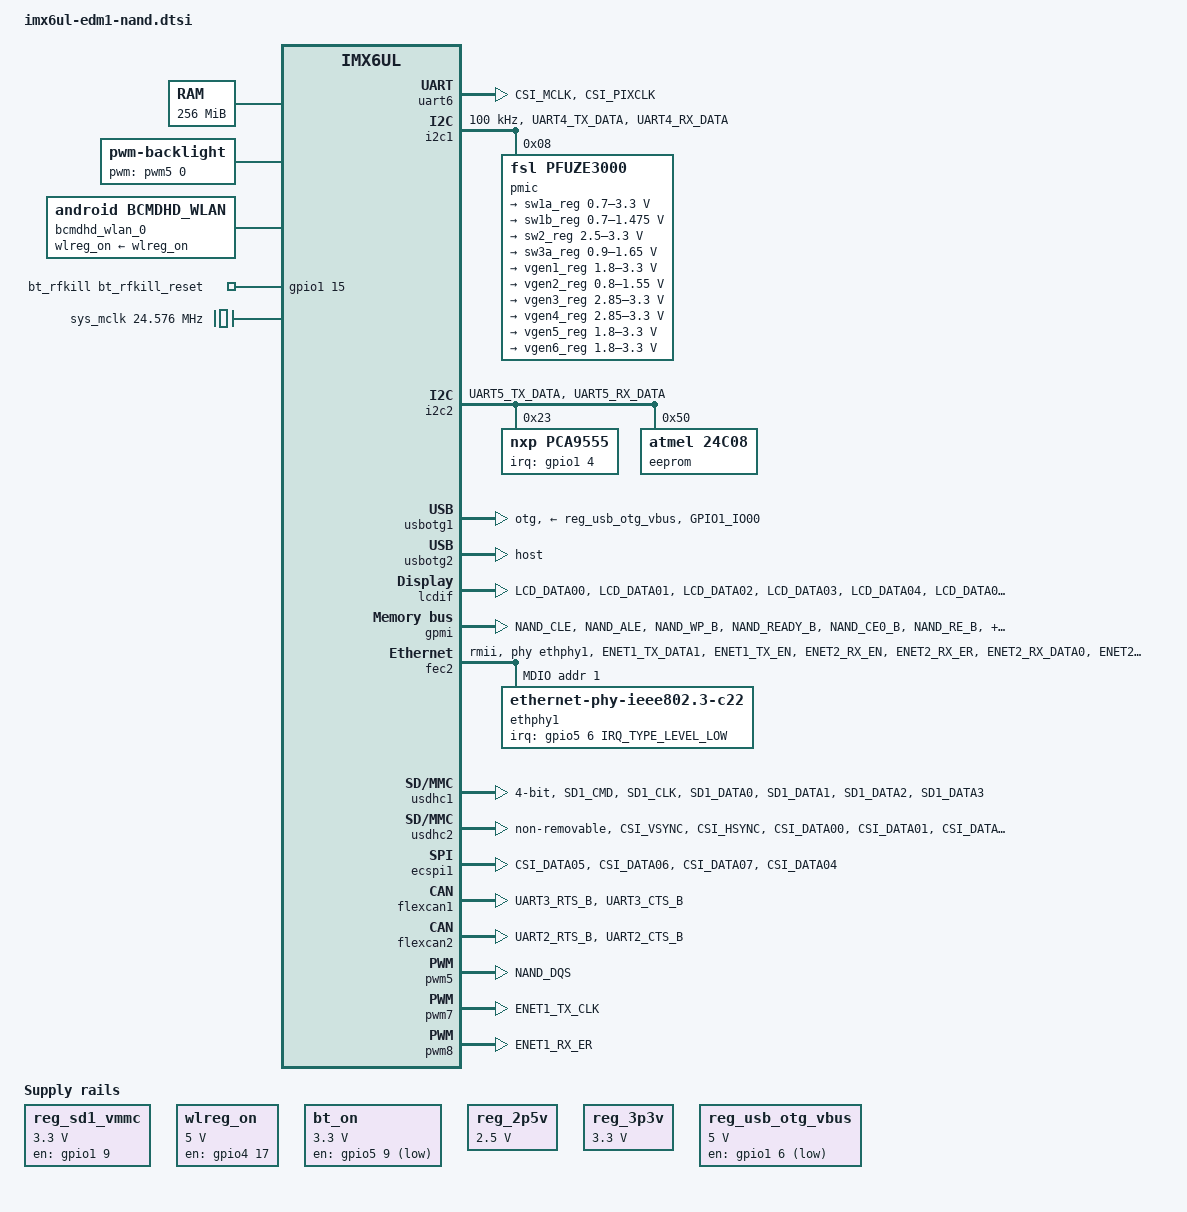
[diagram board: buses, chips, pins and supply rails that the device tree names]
/*
 * Copyright 2017 Technexion Ltd.
 *
 * Author: Tony Lin <tony.lin@technexion.com>
 *	   Tapani Utriainen <tapani@technexion.com>
 *
 * This program is free software; you can redistribute it and/or modify
 * it under the terms of the GNU General Public License version 2 as
 * published by the Free Software Foundation.
 *
 */

#include <dt-bindings/gpio/gpio.h>

/* external GPIO */
#define EDM1_EXT_GPIO_P263 gpio5 7
#define EDM1_EXT_GPIO_P255 pca9555 8
#define EDM1_EXT_GPIO_P256 pca9555 9
#define EDM1_EXT_GPIO_P257 pca9555 10
#define EDM1_EXT_GPIO_P258 pca9555 11
#define EDM1_EXT_GPIO_P259 pca9555 12
#define EDM1_EXT_GPIO_P260 pca9555 13
#define EDM1_EXT_GPIO_P261 pca9555 14
#define EDM1_EXT_GPIO_P262 pca9555 15

/* audio codec */
#define EDM1_AUD_I2S_CHANNEL sai1
#define EDM1_AUD_MUX_INT 1
#define EDM1_AUD_MUX_EXT 3
#define EDM1_AUD_CLK_SRC clks 201

#define can1 flexcan1
#define can2 flexcan2

#define EDM1_FAIRY_I2C1 i2c3
#define EDM1_FAIRY_I2C2 i2c1
#define EDM1_FAIRY_I2C3 i2c2

/ {
	memory {
		reg = <0x80000000 0x10000000>;
	};

	chosen {
        stdout-path = &uart6;
	};

    reserved-memory {
        #address-cells = <1>;
        #size-cells = <1>;
        ranges;

        linux,cma {
            compatible = "shared-dma-pool";
            reusable;
            size = <0x14000000>;
            linux,cma-default;
        };
    };

    pxp_v4l2 {
        compatible = "fsl,imx6ul-pxp-v4l2", "fsl,imx6sx-pxp-v4l2", "fsl,imx6sl-pxp-v4l2";
        status = "okay";
    };

	backlight {
		compatible = "pwm-backlight";
		pwms = <&pwm5 0 5000000>;
		brightness-levels = <0 4 8 16 32 64 128 255>;
		default-brightness-level = <6>;
		status = "okay";
	};

	regulators {
		compatible = "simple-bus";
		#address-cells = <1>;
		#size-cells = <0>;

		reg_sd1_vmmc: regulator@1 {
			compatible = "regulator-fixed";
			regulator-name = "VSD_3V3";
			regulator-min-microvolt = <3300000>;
			regulator-max-microvolt = <3300000>;
			gpio = <&gpio1 9 GPIO_ACTIVE_HIGH>;
			enable-active-high;
			regulator-always-on;
		};

		wlreg_on: fixedregulator@100 {
			compatible = "regulator-fixed";
			regulator-min-microvolt = <5000000>;
			regulator-max-microvolt = <5000000>;
			regulator-name = "wlreg_on";
			gpio = <&gpio4 17 0>;
			startup-delay-us = <100>;
			enable-active-high;
		};

		bt_on: bt_on {
			compatible = "regulator-fixed";
			regulator-min-microvolt = <3300000>;
			regulator-max-microvolt = <3300000>;
			regulator-name = "bt_on";
			gpio = <&gpio5 9 GPIO_ACTIVE_HIGH>;
			regulator-boot-on;
		};

		reg_2p5v: 2p5v {
			compatible = "regulator-fixed";
			regulator-name = "2P5V";
			regulator-min-microvolt = <2500000>;
			regulator-max-microvolt = <2500000>;
			regulator-always-on;
		};

		reg_3p3v: 3p3v {
			compatible = "regulator-fixed";
			regulator-name = "3P3V";
			regulator-min-microvolt = <3300000>;
			regulator-max-microvolt = <3300000>;
			regulator-always-on;
		};

		reg_usb_otg_vbus: usb_otg_vbus {
			compatible = "regulator-fixed";
			pinctrl-names = "default";
			pinctrl-0 = <&pinctrl_usb_otg1>;
			regulator-name = "usb_otg_vbus";
			regulator-min-microvolt = <5000000>;
			regulator-max-microvolt = <5000000>;
			gpio = <&gpio1 6 0>;
		};
	};

	bcmdhd_wlan_0: bcmdhd_wlan@0 {
		compatible = "android,bcmdhd_wlan";
		pinctrl-0 = <&pinctrl_wifi_ctrl>;
		pinctrl-names = "default";
		wlreg_on-supply = <&wlreg_on>;
		status="okay";
	};

	bt_rfkill {
		compatible = "net,rfkill-bcm43xx";
		pinctrl-names = "default";
		pinctrl-0 = <&pinctrl_bt_ctrl>;
		name = "bt_rfkill";
		type = <2>;     /* bluetooth */
		bt_rfkill_reset-gpios = <&gpio1 15 0>;
	};

	clocks {
		sys_mclk: clock {
                        compatible = "fixed-clock";
			#clock-cells = <0>;
                        clock-frequency = <24576000>;
                };
        };

    gpio-edm {
        compatible = "gpio-edm";

        gpio_expio0 {
            label = "GPIO_EXPIO0";
            gpios = <&gpio5 7 0>;
            dir   = "in";
        };

        gpio_expio1 {
            label = "GPIO_EXPIO1";    /*WIFI_PW_ON*/
            gpios = <&pca9555 1 1>;
            dir   = "out";
        };

        gpio_expio4 {
            label = "GPIO_EXPIO4";    /*BT_nRST*/
            gpios = <&pca9555 4 1>;
            dir   = "out";
        };

        gpio_expio5 {
            label = "GPIO_EXPIO5";    /*LVDS0_BLT_EN*/
            gpios = <&pca9555 5 1>;
            dir   = "out";
        };

        gpio_expio6 {
            label = "GPIO_EXPIO6";    /*LVDS0_VDD_EN*/
            gpios = <&pca9555 6 1>;
            dir   = "out";
        };

        gpio_expio7 {
            label = "GPIO_EXPIO7";    /*LCD_BLT_EN*/
            gpios = <&pca9555 7 1>;
            dir   = "out";
        };

        gpio_expio14 {
            label = "GPIO_EXPIO14";   /*GPIO_P261*/
            gpios = <&EDM1_EXT_GPIO_P261 0>;
            dir   = "in";
        };

        gpio_expio16 {
            label = "GPIO_EXPIO16";
            gpios = <&gpio5 8 1>;
            dir   = "out";
        };
    };
};

&cpu0 {
	/*
	 * on i.MX6UL, no seperated VDD_ARM_IN and VDD_SOC_IN,
	 * to align with other platform and use the same cpufreq
	 * driver, still use the seperated OPP define for arm
	 * and soc.
	 */
	operating-points = <
		/* kHz	uV */
		528000	1175000
		396000	1175000
		198000	1175000
	>;
	fsl,soc-operating-points = <
		/* KHz	uV */
		528000	1175000
		396000	1175000
		198000	1175000
	>;
	arm-supply = <&sw1b_reg>;
	soc-supply = <&sw1b_reg>;
	fsl,arm-soc-shared = <1>;
};

&clks {
	assigned-clocks = <&clks IMX6UL_CLK_PLL4_AUDIO_DIV>;
	assigned-clock-rates = <786432000>;
};

&csi {
	status = "disabled";
};

&gpc {
	fsl,cpu_pupscr_sw2iso = <0x1>;
	fsl,cpu_pupscr_sw = <0x0>;
	fsl,cpu_pdnscr_iso2sw = <0x1>;
	fsl,cpu_pdnscr_iso = <0x1>;
	fsl,wdog-reset = <1>; /* watchdog select of reset source */
	fsl,ldo-bypass = <0>; /* DCDC, ldo-enable */
};

/* Debug Console */
&uart6 {
    pinctrl-names = "default";
    pinctrl-0 = <&pinctrl_uart6>;
    status = "okay";
};

&i2c1 {
	clock-frequency = <100000>;
	pinctrl-names = "default";
	pinctrl-0 = <&pinctrl_i2c1>;
	status = "okay";

	pmic: pfuze3000@08 {
		compatible = "fsl,pfuze3000";
		reg = <0x08>;

		regulators {
			sw1a_reg: sw1a {
				regulator-min-microvolt = <700000>;
				regulator-max-microvolt = <3300000>;
				regulator-boot-on;
				regulator-always-on;
				regulator-ramp-delay = <6250>;
			};

			/* VDD_ARM_SOC_IN*/
			sw1b_reg: sw1b {
				regulator-min-microvolt = <700000>;
				regulator-max-microvolt = <1475000>;
				regulator-boot-on;
				regulator-always-on;
				regulator-ramp-delay = <6250>;
			};

			sw2_reg: sw2 {
				regulator-min-microvolt = <2500000>;
				regulator-max-microvolt = <3300000>;
				regulator-boot-on;
				regulator-always-on;
			};

			/* DRAM */
			sw3a_reg: sw3 {
				regulator-min-microvolt = <900000>;
				regulator-max-microvolt = <1650000>;
				regulator-boot-on;
				regulator-always-on;
			};

			/* DRAM */
			vref_reg: vrefddr {
				regulator-boot-on;
				regulator-always-on;
			};

			vgen1_reg: vldo1 {
				regulator-min-microvolt = <1800000>;
				regulator-max-microvolt = <3300000>;
				regulator-always-on;
			};

			vgen2_reg: vldo2 {
				regulator-min-microvolt = <800000>;
				regulator-max-microvolt = <1550000>;
				regulator-always-on;
			};

			vgen3_reg: vccsd {
				regulator-min-microvolt = <2850000>;
				regulator-max-microvolt = <3300000>;
				regulator-always-on;
			};

			vgen4_reg: v33 {
				regulator-min-microvolt = <2850000>;
				regulator-max-microvolt = <3300000>;
				regulator-always-on;
			};

			vgen5_reg: vldo3 {
				regulator-min-microvolt = <1800000>;
				regulator-max-microvolt = <3300000>;
				regulator-always-on;
			};

			vgen6_reg: vldo4 {
				regulator-min-microvolt = <1800000>;
				regulator-max-microvolt = <3300000>;
				regulator-always-on;
			};
		};
	};
};

&i2c2 {
	clock_frequency = <100000>;
	pinctrl-names = "default";
	pinctrl-0 = <&pinctrl_i2c2>;
	status = "okay";

    pca9555: pca9555@23 {
        compatible = "nxp,pca9555";
        pinctrl-names = "default";
        pinctrl-0 = <&pinctrl_pca9555_interrupt>;
        interrupt-parent = <&gpio1>;
        interrupts = <4 IRQ_TYPE_EDGE_FALLING>;
        gpio-controller;
        #gpio-cells = <2>;
        interrupt-controller;
        #interrupt-cells = <2>;
        reg = <0x23>;
	};

    eeprom@50 {
        compatible = "atmel,24c08";
        reg = <0x50>;
        pagesize = <16>;
    };
};

&i2c3 {
    status = "disabled";
};

&iomuxc {
	pinctrl-names = "default";
    pinctrl-0 = <&pinctrl_hog_1>;
    edm1-imx6ul {
        pinctrl_hog_1: hoggrp-1 {
            fsl,pins = <
                MX6UL_PAD_GPIO1_IO03__GPIO1_IO03 	0x17059		/* SD1 CD */
            >;
        };

        pinctrl_uart6: uart6grp {
            fsl,pins = <
                MX6UL_PAD_CSI_MCLK__UART6_DCE_TX 0x1b0b1
                MX6UL_PAD_CSI_PIXCLK__UART6_DCE_RX 0x1b0b1
            >;
        };

		pinctrl_usdhc1: usdhc1grp {
			fsl,pins = <
				MX6UL_PAD_SD1_CMD__USDHC1_CMD     0x17059
				MX6UL_PAD_SD1_CLK__USDHC1_CLK     0x10071
				MX6UL_PAD_SD1_DATA0__USDHC1_DATA0 0x17059
				MX6UL_PAD_SD1_DATA1__USDHC1_DATA1 0x17059
				MX6UL_PAD_SD1_DATA2__USDHC1_DATA2 0x17059
				MX6UL_PAD_SD1_DATA3__USDHC1_DATA3 0x17059
			>;
		};

		pinctrl_usdhc1b: usdhc1grpB {
			fsl,pins = <
				MX6UL_PAD_NAND_READY_B__USDHC1_DATA4 0x17059
				MX6UL_PAD_NAND_CE0_B__USDHC1_DATA5   0x17059
				MX6UL_PAD_NAND_CE1_B__USDHC1_DATA6   0x17059
				MX6UL_PAD_NAND_CLE__USDHC1_DATA7     0x17059
			>;
		};

		pinctrl_i2c1: i2c1grp {
			fsl,pins = <
                MX6UL_PAD_UART4_TX_DATA__I2C1_SCL	0x4001b8b0
                MX6UL_PAD_UART4_RX_DATA__I2C1_SDA	0x4001b8b0
			>;
		};

		pinctrl_i2c2: i2c2grp {
			fsl,pins = <
                MX6UL_PAD_UART5_TX_DATA__I2C2_SCL 0x4001b8b0
                MX6UL_PAD_UART5_RX_DATA__I2C2_SDA 0x4001b8b0
			>;
		};

		pinctrl_wifi_ctrl: wifi_ctrlgrp {
			fsl,pins = <
                MX6UL_PAD_JTAG_TCK__GPIO1_IO14 0x17059 /* wifi-host-wake */
			>;
		};

		pinctrl_bt_ctrl: bt_ctrlgrp {
			fsl,pins = <
				MX6UL_PAD_JTAG_TRST_B__GPIO1_IO15   0x79   /* bluetooth-reg-on */
				MX6UL_PAD_JTAG_TDO__GPIO1_IO12      0x79   /* bluetooth-wake */				
			>;
		};

		pinctrl_lcdif_dat: lcdifdatgrp {
			fsl,pins = <
				MX6UL_PAD_LCD_DATA00__LCDIF_DATA00  0x79
				MX6UL_PAD_LCD_DATA01__LCDIF_DATA01  0x79
				MX6UL_PAD_LCD_DATA02__LCDIF_DATA02  0x79
				MX6UL_PAD_LCD_DATA03__LCDIF_DATA03  0x79
				MX6UL_PAD_LCD_DATA04__LCDIF_DATA04  0x79
				MX6UL_PAD_LCD_DATA05__LCDIF_DATA05  0x79
				MX6UL_PAD_LCD_DATA06__LCDIF_DATA06  0x79
				MX6UL_PAD_LCD_DATA07__LCDIF_DATA07  0x79
				MX6UL_PAD_LCD_DATA08__LCDIF_DATA08  0x79
				MX6UL_PAD_LCD_DATA09__LCDIF_DATA09  0x79
				MX6UL_PAD_LCD_DATA10__LCDIF_DATA10  0x79
				MX6UL_PAD_LCD_DATA11__LCDIF_DATA11  0x79
				MX6UL_PAD_LCD_DATA12__LCDIF_DATA12  0x79
				MX6UL_PAD_LCD_DATA13__LCDIF_DATA13  0x79
				MX6UL_PAD_LCD_DATA14__LCDIF_DATA14  0x79
				MX6UL_PAD_LCD_DATA15__LCDIF_DATA15  0x79
				MX6UL_PAD_LCD_DATA16__LCDIF_DATA16  0x79
				MX6UL_PAD_LCD_DATA17__LCDIF_DATA17  0x79
				MX6UL_PAD_LCD_DATA18__LCDIF_DATA18  0x79
				MX6UL_PAD_LCD_DATA19__LCDIF_DATA19  0x79
				MX6UL_PAD_LCD_DATA20__LCDIF_DATA20  0x79
				MX6UL_PAD_LCD_DATA21__LCDIF_DATA21  0x79
				MX6UL_PAD_LCD_DATA22__LCDIF_DATA22  0x79
				MX6UL_PAD_LCD_DATA23__LCDIF_DATA23  0x79
			>;
		};

		pinctrl_lcdif_ctrl: lcdifctrlgrp {
			fsl,pins = <
				MX6UL_PAD_LCD_CLK__LCDIF_CLK	    0x79
				MX6UL_PAD_LCD_ENABLE__LCDIF_ENABLE  0x79
				MX6UL_PAD_LCD_HSYNC__LCDIF_HSYNC    0x79
				MX6UL_PAD_LCD_VSYNC__LCDIF_VSYNC    0x79
				/* used for lcd reset */
				MX6UL_PAD_SNVS_TAMPER9__GPIO5_IO09  0x79
			>;
		};

		pinctrl_gpmi_nand: gpmi-nand {
			fsl,pins = <
				MX6UL_PAD_NAND_CLE__RAWNAND_CLE         0xb0b1
				MX6UL_PAD_NAND_ALE__RAWNAND_ALE         0xb0b1
				MX6UL_PAD_NAND_WP_B__RAWNAND_WP_B       0xb0b1
				MX6UL_PAD_NAND_READY_B__RAWNAND_READY_B 0xb000
				MX6UL_PAD_NAND_CE0_B__RAWNAND_CE0_B     0xb0b1
				MX6UL_PAD_NAND_RE_B__RAWNAND_RE_B       0xb0b1
				MX6UL_PAD_NAND_WE_B__RAWNAND_WE_B       0xb0b1
				MX6UL_PAD_NAND_DATA00__RAWNAND_DATA00   0xb0b1
				MX6UL_PAD_NAND_DATA01__RAWNAND_DATA01   0xb0b1
				MX6UL_PAD_NAND_DATA02__RAWNAND_DATA02   0xb0b1
				MX6UL_PAD_NAND_DATA03__RAWNAND_DATA03   0xb0b1
				MX6UL_PAD_NAND_DATA04__RAWNAND_DATA04   0xb0b1
				MX6UL_PAD_NAND_DATA05__RAWNAND_DATA05   0xb0b1
				MX6UL_PAD_NAND_DATA06__RAWNAND_DATA06   0xb0b1
				MX6UL_PAD_NAND_DATA07__RAWNAND_DATA07   0xb0b1
                MX6UL_PAD_NAND_DQS__QSPI_A_SS0_B      0x70a1
			>;
		};

		pinctrl_enet2: enet2grp {
			fsl,pins = <
				MX6UL_PAD_ENET1_TX_DATA1__ENET2_MDIO	0x1b0b0
				MX6UL_PAD_ENET1_TX_EN__ENET2_MDC	0x1b0b0
				MX6UL_PAD_ENET2_RX_EN__ENET2_RX_EN	0x1b0b0
				MX6UL_PAD_ENET2_RX_ER__ENET2_RX_ER	0x1b0b0
				MX6UL_PAD_ENET2_RX_DATA0__ENET2_RDATA00	0x1b0b0
				MX6UL_PAD_ENET2_RX_DATA1__ENET2_RDATA01	0x1b0b0
				MX6UL_PAD_ENET2_TX_EN__ENET2_TX_EN	0x1b0b0
				MX6UL_PAD_ENET2_TX_DATA0__ENET2_TDATA00	0x1b0b0
				MX6UL_PAD_ENET2_TX_DATA1__ENET2_TDATA01	0x1b0b0
				MX6UL_PAD_ENET2_TX_CLK__ENET2_REF_CLK2	0x4001b031
				MX6UL_PAD_SNVS_TAMPER6__GPIO5_IO06	0x800
				MX6UL_PAD_SNVS_TAMPER2__GPIO5_IO02      0x79    /* ethernet reset pin */
			>;
		};

		pinctrl_usdhc2: usdhc2grp {
			fsl,pins = <
				MX6UL_PAD_CSI_VSYNC__USDHC2_CLK		0x10059
				MX6UL_PAD_CSI_HSYNC__USDHC2_CMD		0x17059
				MX6UL_PAD_CSI_DATA00__USDHC2_DATA0	0x17059
				MX6UL_PAD_CSI_DATA01__USDHC2_DATA1	0x17059
				MX6UL_PAD_CSI_DATA02__USDHC2_DATA2	0x17059
				MX6UL_PAD_CSI_DATA03__USDHC2_DATA3	0x17059
			>;
		};

        pinctrl_ecspi1: ecspi1grp {
            fsl,pins = <
                MX6UL_PAD_CSI_DATA05__GPIO4_IO26  0x10b0
                MX6UL_PAD_CSI_DATA06__ECSPI1_MOSI 0x10b0
                MX6UL_PAD_CSI_DATA07__ECSPI1_MISO 0x10b0
                MX6UL_PAD_CSI_DATA04__ECSPI1_SCLK 0x10b0
            >;
        };

		pinctrl_flexcan1: flexcan1grp {
			fsl,pins = <
                MX6UL_PAD_UART3_RTS_B__FLEXCAN1_RX	0x1b020
                MX6UL_PAD_UART3_CTS_B__FLEXCAN1_TX	0x1b020
			>;
		};

		pinctrl_flexcan2: flexcan2grp {
			fsl,pins = <
                MX6UL_PAD_UART2_RTS_B__FLEXCAN2_RX	0x1b020
                MX6UL_PAD_UART2_CTS_B__FLEXCAN2_TX	0x1b020
			>;
		};

		pinctrl_pwm5: pwm5grp {
			fsl,pins = <
				MX6UL_PAD_NAND_DQS__PWM5_OUT	0x110b0
			>;
		};

		pinctrl_usb_otg1_id: usbotg1idgrp {
			fsl,pins = <
				MX6UL_PAD_GPIO1_IO00__ANATOP_OTG1_ID	0x17059
			>;
		};
		pinctrl_usb_otg1: usbotg1grp {
			fsl,pins = <
				MX6UL_PAD_GPIO1_IO06__GPIO1_IO06        0x10b0
			>;
		};

		pinctrl_qspi: qspigrp {
			fsl,pins = <
				MX6UL_PAD_NAND_READY_B__QSPI_A_DATA00 0x70a1
				MX6UL_PAD_NAND_CE0_B__QSPI_A_DATA01   0x70a1
				MX6UL_PAD_NAND_CE1_B__QSPI_A_DATA02   0x70a1
				MX6UL_PAD_NAND_CLE__QSPI_A_DATA03     0x70a1
				MX6UL_PAD_NAND_WP_B__QSPI_A_SCLK      0x70a1
				MX6UL_PAD_NAND_DATA07__QSPI_A_SS1_B   0x70a1
			>;
		};

        pinctrl_pca9555_interrupt: pca9555_interrupt {
            fsl,pins = <
                MX6UL_PAD_GPIO1_IO04__GPIO1_IO04 0x17059
            >;
        };

		pinctrl_pwm7: pwm7grp {
			fsl,pins = <
				MX6UL_PAD_ENET1_TX_CLK__PWM7_OUT	0x110b0
			>;
		};

		pinctrl_pwm8: pwm8grp {
			fsl,pins = <
				MX6UL_PAD_ENET1_RX_ER__PWM8_OUT	0x110b0
			>;
		};

		pinctrl_ext_gpioled_hobbit: gpioledgrp {
			fsl,pins = <
				MX6UL_PAD_JTAG_TDI__GPIO1_IO13	0x79
			>;
		};

		pinctrl_pca9554_interrupt: pca9554_interrupt {
			fsl,pins = <
				MX6UL_PAD_UART1_CTS_B__GPIO1_IO18 0x17059
			>;
		};
	};
};

&usbotg1 {
	vbus-supply = <&reg_usb_otg_vbus>;
	pinctrl-names = "default";
	pinctrl-0 = <&pinctrl_usb_otg1_id>;
	dr_mode = "otg";
	disable-over-current;
	status = "okay";
};

&usbotg2 {
	dr_mode = "host";
	disable-over-current;
	status = "okay";
};

&lcdif {
	pinctrl-names = "default";
	pinctrl-0 = <&pinctrl_lcdif_dat
		     &pinctrl_lcdif_ctrl>;
	display = <&display0>;
	status = "okay";

	display0: display {
		bits-per-pixel = <32>;
		bus-width = <24>;

		display-timings {
			native-mode = <&timing0>;
			timing0: timing0 {
			clock-frequency = <33200000>;
			hactive = <800>;
			vactive = <480>;
			hfront-porch = <210>;
			hback-porch = <46>;
			hsync-len = <1>;
			vback-porch = <22>;
			vfront-porch = <23>;
			vsync-len = <1>;

			hsync-active = <0>;
			vsync-active = <0>;
			de-active = <1>;
			pixelclk-active = <0>;
			};
		};
	};
};

&gpmi {
	pinctrl-names = "default";
	pinctrl-0 = <&pinctrl_gpmi_nand>;
	nand-on-flash-bbt;
	status = "okay";
};


&fec2 {
	pinctrl-names = "default";
	pinctrl-0 = <&pinctrl_enet2>;
	phy-mode = "rmii";
	phy-handle = <&ethphy1>;
	status = "okay";
	phy-reset-gpios = <&gpio5 2 GPIO_ACTIVE_LOW>;
	phy-reset-duration = <11>;

	mdio {
		#address-cells = <1>;
		#size-cells = <0>;

		ethphy1: ethernet-phy@1 {
			compatible = "ethernet-phy-ieee802.3-c22";
			reg = <1>;
			max-speed = <100>;
			interrupt-parent = <&gpio5>;
			interrupts = <6 IRQ_TYPE_LEVEL_LOW 0>;
		};
	};
};


&usdhc1 {  /* Baseboard microSD slot */
	pinctrl-names = "default";
	pinctrl-0 = <&pinctrl_usdhc1>;
	bus-width = <4>;
	no-1-8-v;
	keep-power-in-suspend;
	status = "okay";
};

&usdhc2 {  /* Wifi SDIO */
	pinctrl-names = "default";
	pinctrl-0 = <&pinctrl_usdhc2>;
	no-1-8-v;
	keep-power-in-suspend;
	non-removable;
	cd-post;
	pm-ignore-notify;
	wifi-host;
	status = "okay";
};

&ecspi1 {
    fsl,spi-num-chipselects = <1>;
    cs-gpios = <&gpio4 26 GPIO_ACTIVE_HIGH>;
    pinctrl-names = "default";
    pinctrl-0 = <&pinctrl_ecspi1>;
    status = "okay";
};

&flexcan1 {
	pinctrl-names = "default";
	pinctrl-0 = <&pinctrl_flexcan1>;
	status = "okay";
};

&flexcan2 {
	pinctrl-names = "default";
	pinctrl-0 = <&pinctrl_flexcan2>;
	status = "okay";
};

&pwm5 {
	pinctrl-names = "default";
	pinctrl-0 = <&pinctrl_pwm5>;
	clocks = <&clks IMX6UL_CLK_PWM5>,
		 <&clks IMX6UL_CLK_PWM5>;
	status = "okay";
};

&pwm7 {
	pinctrl-names = "default";
	pinctrl-0 = <&pinctrl_pwm7>;
	clocks = <&clks IMX6UL_CLK_PWM7>,
		 <&clks IMX6UL_CLK_PWM7>;
	status = "okay";
};

&pwm8 {
	pinctrl-names = "default";
	pinctrl-0 = <&pinctrl_pwm8>;
	clocks = <&clks IMX6UL_CLK_PWM8>,
		 <&clks IMX6UL_CLK_PWM8>;
	status = "okay";
};
